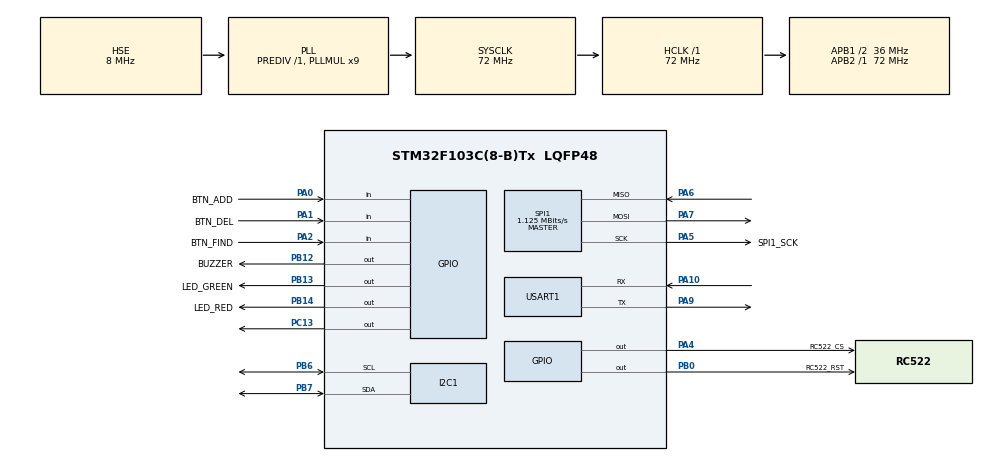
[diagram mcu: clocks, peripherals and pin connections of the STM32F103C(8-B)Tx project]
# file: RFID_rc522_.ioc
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Mcu.Family=STM32F1
Mcu.Name=STM32F103C(8-B)Tx
Mcu.Package=LQFP48
NVIC.PriorityGroup=NVIC_PRIORITYGROUP_4
PA0-WKUP.GPIO_Label=BTN_ADD
PA0-WKUP.GPIO_PuPd=GPIO_PULLUP
PA0-WKUP.Signal=GPIO_Input
PA1.GPIO_Label=BTN_DEL
PA1.GPIO_PuPd=GPIO_PULLUP
PA1.Signal=GPIO_Input
PA10.Mode=Asynchronous
PA10.Signal=USART1_RX
PA13.Mode=Serial_Wire
PA13.Signal=SYS_JTMS-SWDIO
PA14.Mode=Serial_Wire
PA14.Signal=SYS_JTCK-SWCLK
PA2.GPIO_Label=BTN_FIND
PA2.GPIO_PuPd=GPIO_PULLUP
PA2.Signal=GPIO_Input
PA4.GPIO_Label=RC522_CS
PA4.PinState=GPIO_PIN_SET
PA4.Signal=GPIO_Output
PA5.GPIO_Label=SPI1_SCK
PA5.Mode=Full_Duplex_Master
PA5.Signal=SPI1_SCK
PA6.Mode=Full_Duplex_Master
PA6.Signal=SPI1_MISO
PA7.Mode=Full_Duplex_Master
PA7.Signal=SPI1_MOSI
PA9.Mode=Asynchronous
PA9.Signal=USART1_TX
PB0.GPIO_Label=RC522_RST
PB0.PinState=GPIO_PIN_SET
PB0.Signal=GPIO_Output
PB12.GPIO_Label=BUZZER
PB12.Signal=GPIO_Output
PB13.GPIO_Label=LED_GREEN
PB13.Signal=GPIO_Output
PB14.GPIO_Label=LED_RED
PB14.Signal=GPIO_Output
PB6.Mode=I2C
PB6.Signal=I2C1_SCL
PB7.Mode=I2C
PB7.Signal=I2C1_SDA
PC13-TAMPER-RTC.Signal=GPIO_Output
PC14-OSC32_IN.Mode=LSE-External-Oscillator
PC14-OSC32_IN.Signal=RCC_OSC32_IN
PC15-OSC32_OUT.Mode=LSE-External-Oscillator
PC15-OSC32_OUT.Signal=RCC_OSC32_OUT
PD0-OSC_IN.Mode=HSE-External-Oscillator
PD0-OSC_IN.Signal=RCC_OSC_IN
PD1-OSC_OUT.Mode=HSE-External-Oscillator
PD1-OSC_OUT.Signal=RCC_OSC_OUT
ProjectManager.HeapSize=0x200
ProjectManager.StackSize=0x400
ProjectManager.TargetToolchain=MDK-ARM V5.32
RCC.AHBFreq_Value=72000000
RCC.APB1CLKDivider=RCC_HCLK_DIV2
RCC.APB1Freq_Value=36000000
RCC.APB1TimFreq_Value=72000000
RCC.APB2Freq_Value=72000000
RCC.APB2TimFreq_Value=72000000
RCC.HCLKFreq_Value=72000000
RCC.PLLMUL=RCC_PLL_MUL9
RCC.PLLSourceVirtual=RCC_PLLSOURCE_HSE
RCC.SYSCLKFreq_VALUE=72000000
RCC.SYSCLKSource=RCC_SYSCLKSOURCE_PLLCLK
RCC.USBFreq_Value=72000000
SPI1.BaudRatePrescaler=SPI_BAUDRATEPRESCALER_64
SPI1.CalculateBaudRate=1.125 MBits/s
SPI1.Direction=SPI_DIRECTION_2LINES
SPI1.Mode=SPI_MODE_MASTER
SPI1.VirtualType=VM_MASTER
USART1.VirtualMode=VM_ASYNC
VP_RTC_No_RTC_Output.Mode=RTC_OUT_NO
VP_RTC_VS_RTC_Activate.Mode=RTC_Enabled
board=custom

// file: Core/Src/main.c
/* USER CODE BEGIN Header */
/**
  ******************************************************************************
  * @file           : main.c
  * @brief          : Main program body
  ******************************************************************************
  * @attention
  *
  * Copyright (c) 2026 STMicroelectronics.
  * All rights reserved.
  *
  * This software is licensed under terms that can be found in the LICENSE file
  * in the root directory of this software component.
  * If no LICENSE file comes with this software, it is provided AS-IS.
  *
  ******************************************************************************
  */
/* USER CODE END Header */
#include "main.h"

/* USER CODE BEGIN Includes */
#include "rfid_app.h"
#include <string.h>
#include <stdio.h>
#include "attendance_log.h"
#include "user.h"
#include "OLED.h"

/* USER CODE END Includes */

I2C_HandleTypeDef hi2c1;

RTC_HandleTypeDef hrtc;

SPI_HandleTypeDef hspi1;

UART_HandleTypeDef huart1;

void SystemClock_Config(void);
static void MX_GPIO_Init(void);
static void MX_SPI1_Init(void);
static void MX_USART1_UART_Init(void);
static void MX_I2C1_Init(void);
static void MX_RTC_Init(void);

int main(void)
{

  /* MCU Configuration--------------------------------------------------------*/

  /* Reset of all peripherals, Initializes the Flash interface and the Systick. */
  HAL_Init();

  /* Configure the system clock */
  SystemClock_Config();

  /* Initialize all configured peripherals */
  MX_GPIO_Init();
  MX_SPI1_Init();
  MX_USART1_UART_Init();
  MX_I2C1_Init();
  MX_RTC_Init();
  /* USER CODE BEGIN 2 */

    OLED_Init(&hi2c1);
    RFID_App_Init(&hspi1, &huart1);
		ATTLOG_Init(&hrtc);
    USER_Init();  		/* Sinh vien 2: quan ly the trong Flash */

  /* USER CODE END 2 */

  /* Infinite loop */
  while (1)
  {

    /* USER CODE BEGIN 3 */

		RFID_App_Task();

    /* Sinh vien 2: nhan lenh UART de export CSV (*) hoac xoa (#) */
    uint8_t rx_char;
    if (HAL_UART_Receive(&huart1, &rx_char, 1, 0) == HAL_OK) {
        ATTLOG_OnUartCommand(rx_char);
    }

    HAL_Delay(1);

  }
  /* USER CODE END 3 */
}

void SystemClock_Config(void)
{
  RCC_OscInitTypeDef RCC_OscInitStruct = {0};
  RCC_ClkInitTypeDef RCC_ClkInitStruct = {0};
  RCC_PeriphCLKInitTypeDef PeriphClkInit = {0};

  /** Initializes the RCC Oscillators according to the specified parameters
  * in the RCC_OscInitTypeDef structure.
  */
  RCC_OscInitStruct.OscillatorType = RCC_OSCILLATORTYPE_LSI|RCC_OSCILLATORTYPE_HSE;
  RCC_OscInitStruct.HSEState = RCC_HSE_ON;
  RCC_OscInitStruct.HSEPredivValue = RCC_HSE_PREDIV_DIV1;
  RCC_OscInitStruct.HSIState = RCC_HSI_ON;
  RCC_OscInitStruct.LSIState = RCC_LSI_ON;
  RCC_OscInitStruct.PLL.PLLState = RCC_PLL_ON;
  RCC_OscInitStruct.PLL.PLLSource = RCC_PLLSOURCE_HSE;
  RCC_OscInitStruct.PLL.PLLMUL = RCC_PLL_MUL9;
  if (HAL_RCC_OscConfig(&RCC_OscInitStruct) != HAL_OK)
  {
    Error_Handler();
  }

  /** Initializes the CPU, AHB and APB buses clocks
  */
  RCC_ClkInitStruct.ClockType = RCC_CLOCKTYPE_HCLK|RCC_CLOCKTYPE_SYSCLK
                              |RCC_CLOCKTYPE_PCLK1|RCC_CLOCKTYPE_PCLK2;
  RCC_ClkInitStruct.SYSCLKSource = RCC_SYSCLKSOURCE_PLLCLK;
  RCC_ClkInitStruct.AHBCLKDivider = RCC_SYSCLK_DIV1;
  RCC_ClkInitStruct.APB1CLKDivider = RCC_HCLK_DIV2;
  RCC_ClkInitStruct.APB2CLKDivider = RCC_HCLK_DIV1;

  if (HAL_RCC_ClockConfig(&RCC_ClkInitStruct, FLASH_LATENCY_2) != HAL_OK)
  {
    Error_Handler();
  }
  PeriphClkInit.PeriphClockSelection = RCC_PERIPHCLK_RTC;
  PeriphClkInit.RTCClockSelection = RCC_RTCCLKSOURCE_LSI;
  if (HAL_RCCEx_PeriphCLKConfig(&PeriphClkInit) != HAL_OK)
  {
    Error_Handler();
  }
}

static void MX_I2C1_Init(void)
{

  hi2c1.Instance = I2C1;
  hi2c1.Init.ClockSpeed = 100000;
  hi2c1.Init.DutyCycle = I2C_DUTYCYCLE_2;
  hi2c1.Init.OwnAddress1 = 0;
  hi2c1.Init.AddressingMode = I2C_ADDRESSINGMODE_7BIT;
  hi2c1.Init.DualAddressMode = I2C_DUALADDRESS_DISABLE;
  hi2c1.Init.OwnAddress2 = 0;
  hi2c1.Init.GeneralCallMode = I2C_GENERALCALL_DISABLE;
  hi2c1.Init.NoStretchMode = I2C_NOSTRETCH_DISABLE;
  if (HAL_I2C_Init(&hi2c1) != HAL_OK)
  {
    Error_Handler();
  }

}

static void MX_RTC_Init(void)
{

  RTC_TimeTypeDef sTime = {0};
  RTC_DateTypeDef DateToUpdate = {0};

  /** Initialize RTC Only
  */
  hrtc.Instance = RTC;
  hrtc.Init.AsynchPrediv = RTC_AUTO_1_SECOND;
  hrtc.Init.OutPut = RTC_OUTPUTSOURCE_NONE;
  if (HAL_RTC_Init(&hrtc) != HAL_OK)
  {
    Error_Handler();
  }

  /** Initialize RTC and set the Time and Date
  */
  sTime.Hours = 0x0;
  sTime.Minutes = 0x0;
  sTime.Seconds = 0x0;

  if (HAL_RTC_SetTime(&hrtc, &sTime, RTC_FORMAT_BCD) != HAL_OK)
  {
    Error_Handler();
  }
  DateToUpdate.WeekDay = RTC_WEEKDAY_MONDAY;
  DateToUpdate.Month = RTC_MONTH_JANUARY;
  DateToUpdate.Date = 0x1;
  DateToUpdate.Year = 0x0;

  if (HAL_RTC_SetDate(&hrtc, &DateToUpdate, RTC_FORMAT_BCD) != HAL_OK)
  {
    Error_Handler();
  }

}

static void MX_SPI1_Init(void)
{

  /* SPI1 parameter configuration*/
  hspi1.Instance = SPI1;
  hspi1.Init.Mode = SPI_MODE_MASTER;
  hspi1.Init.Direction = SPI_DIRECTION_2LINES;
  hspi1.Init.DataSize = SPI_DATASIZE_8BIT;
  hspi1.Init.CLKPolarity = SPI_POLARITY_LOW;
  hspi1.Init.CLKPhase = SPI_PHASE_1EDGE;
  hspi1.Init.NSS = SPI_NSS_SOFT;
  hspi1.Init.BaudRatePrescaler = SPI_BAUDRATEPRESCALER_64;
  hspi1.Init.FirstBit = SPI_FIRSTBIT_MSB;
  hspi1.Init.TIMode = SPI_TIMODE_DISABLE;
  hspi1.Init.CRCCalculation = SPI_CRCCALCULATION_DISABLE;
  hspi1.Init.CRCPolynomial = 10;
  if (HAL_SPI_Init(&hspi1) != HAL_OK)
  {
    Error_Handler();
  }

}

static void MX_USART1_UART_Init(void)
{

  huart1.Instance = USART1;
  huart1.Init.BaudRate = 115200;
  huart1.Init.WordLength = UART_WORDLENGTH_8B;
  huart1.Init.StopBits = UART_STOPBITS_1;
  huart1.Init.Parity = UART_PARITY_NONE;
  huart1.Init.Mode = UART_MODE_TX_RX;
  huart1.Init.HwFlowCtl = UART_HWCONTROL_NONE;
  huart1.Init.OverSampling = UART_OVERSAMPLING_16;
  if (HAL_UART_Init(&huart1) != HAL_OK)
  {
    Error_Handler();
  }

}

static void MX_GPIO_Init(void)
{
  GPIO_InitTypeDef GPIO_InitStruct = {0};

  /* GPIO Ports Clock Enable */
  __HAL_RCC_GPIOC_CLK_ENABLE();
  __HAL_RCC_GPIOD_CLK_ENABLE();
  __HAL_RCC_GPIOA_CLK_ENABLE();
  __HAL_RCC_GPIOB_CLK_ENABLE();

  /*Configure GPIO pin Output Level */
  HAL_GPIO_WritePin(GPIOC, GPIO_PIN_13, GPIO_PIN_RESET);

  /*Configure GPIO pin Output Level */
  HAL_GPIO_WritePin(RC522_CS_GPIO_Port, RC522_CS_Pin, GPIO_PIN_SET);

  /*Configure GPIO pin Output Level */
  HAL_GPIO_WritePin(RC522_RST_GPIO_Port, RC522_RST_Pin, GPIO_PIN_SET);

  /*Configure GPIO pin Output Level */
  HAL_GPIO_WritePin(GPIOB, BUZZER_Pin|LED_GREEN_Pin|LED_RED_Pin, GPIO_PIN_RESET);

  /*Configure GPIO pin : PC13 */
  GPIO_InitStruct.Pin = GPIO_PIN_13;
  GPIO_InitStruct.Mode = GPIO_MODE_OUTPUT_PP;
  GPIO_InitStruct.Pull = GPIO_NOPULL;
  GPIO_InitStruct.Speed = GPIO_SPEED_FREQ_LOW;
  HAL_GPIO_Init(GPIOC, &GPIO_InitStruct);

  /*Configure GPIO pins : BTN_ADD_Pin BTN_DEL_Pin BTN_FIND_Pin */
  GPIO_InitStruct.Pin = BTN_ADD_Pin|BTN_DEL_Pin|BTN_FIND_Pin;
  GPIO_InitStruct.Mode = GPIO_MODE_INPUT;
  GPIO_InitStruct.Pull = GPIO_PULLUP;
  HAL_GPIO_Init(GPIOA, &GPIO_InitStruct);

  /*Configure GPIO pin : RC522_CS_Pin */
  GPIO_InitStruct.Pin = RC522_CS_Pin;
  GPIO_InitStruct.Mode = GPIO_MODE_OUTPUT_PP;
  GPIO_InitStruct.Pull = GPIO_NOPULL;
  GPIO_InitStruct.Speed = GPIO_SPEED_FREQ_LOW;
  HAL_GPIO_Init(RC522_CS_GPIO_Port, &GPIO_InitStruct);

  /*Configure GPIO pins : RC522_RST_Pin BUZZER_Pin LED_GREEN_Pin LED_RED_Pin */
  GPIO_InitStruct.Pin = RC522_RST_Pin|BUZZER_Pin|LED_GREEN_Pin|LED_RED_Pin;
  GPIO_InitStruct.Mode = GPIO_MODE_OUTPUT_PP;
  GPIO_InitStruct.Pull = GPIO_NOPULL;
  GPIO_InitStruct.Speed = GPIO_SPEED_FREQ_LOW;
  HAL_GPIO_Init(GPIOB, &GPIO_InitStruct);

}

void Error_Handler(void)
{
  __disable_irq();
  while (1)
  {
  }
}
